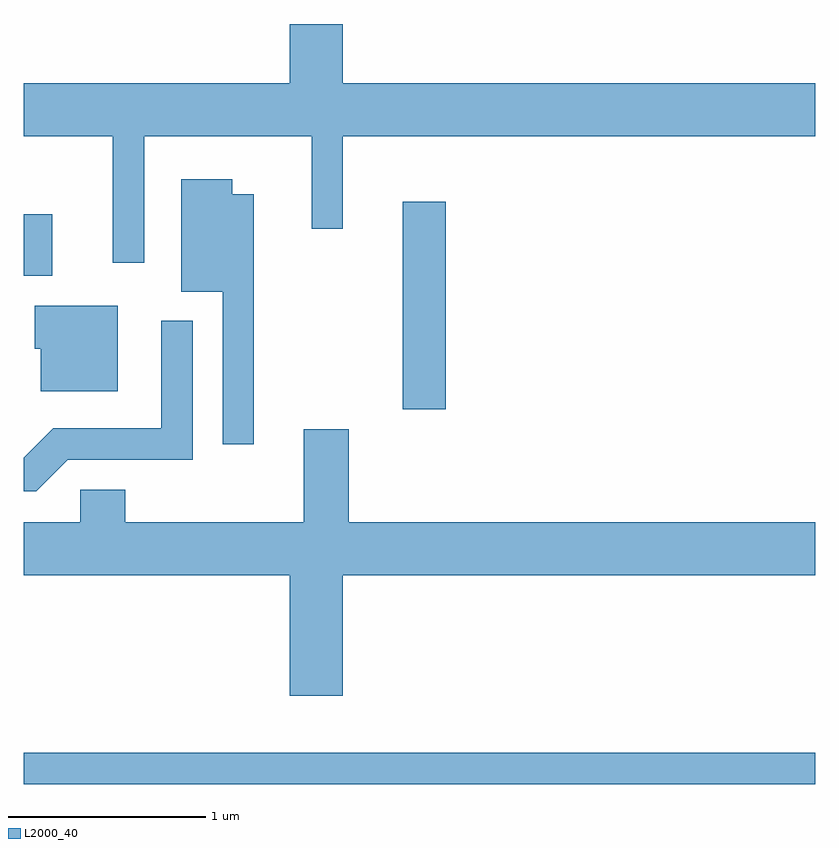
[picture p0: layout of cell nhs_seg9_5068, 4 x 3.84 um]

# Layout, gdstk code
import gdstk
lib = gdstk.Library(unit=1e-6, precision=1e-09)
def R(c, l, rs):  # rectangles x0, y0, x1, y1
    for r in rs: c.add(gdstk.rectangle(r[:2], r[2:], *l))
def P(c, l, *ps):  # polygons
    for p in ps: c.add(gdstk.Polygon(p, *l))
L2000_40 = (2000, 40)

nhs_seg9_5068 = lib.new_cell('nhs_seg9_5068')
R(nhs_seg9_5068, L2000_40, [(333.611,2068.461,337.611,2068.619), (335.526,2070.356,335.744,2071.404), (333.611,2071.031,333.754,2071.343)])
P(nhs_seg9_5068, L2000_40, [(334.219,2071.736),(335.066,2071.736),(335.066,2071.268),(335.224,2071.268),(335.224,2071.736),(337.611,2071.736),(337.611,2072.004),(335.224,2072.004),(335.224,2072.304),(334.956,2072.304),(334.956,2072.004),(333.611,2072.004),(333.611,2071.736),(334.061,2071.736),(334.061,2071.097),(334.219,2071.097)],
  [(334.774,2071.444),(334.664,2071.444),(334.664,2071.519),(334.406,2071.519),(334.406,2070.951),(334.616,2070.951),(334.616,2070.178),(334.774,2070.178)],
  [(334.084,2070.879),(333.666,2070.879),(333.666,2070.661),(333.696,2070.661),(333.696,2070.446),(334.084,2070.446)],
  [(333.832,2070.101),(334.464,2070.101),(334.464,2070.803),(334.306,2070.803),(334.306,2070.259),(333.759,2070.259),(333.611,2070.111),(333.611,2069.941),(333.672,2069.941)],
  [(335.224,2069.516),(337.611,2069.516),(337.611,2069.784),(335.254,2069.784),(335.254,2070.254),(335.026,2070.254),(335.026,2069.784),(334.124,2069.784),(334.124,2069.949),(333.896,2069.949),(333.896,2069.784),(333.611,2069.784),(333.611,2069.516),(334.956,2069.516),(334.956,2068.906),(335.224,2068.906)])

lib.write_gds('nhs_seg9_5068.gds')
